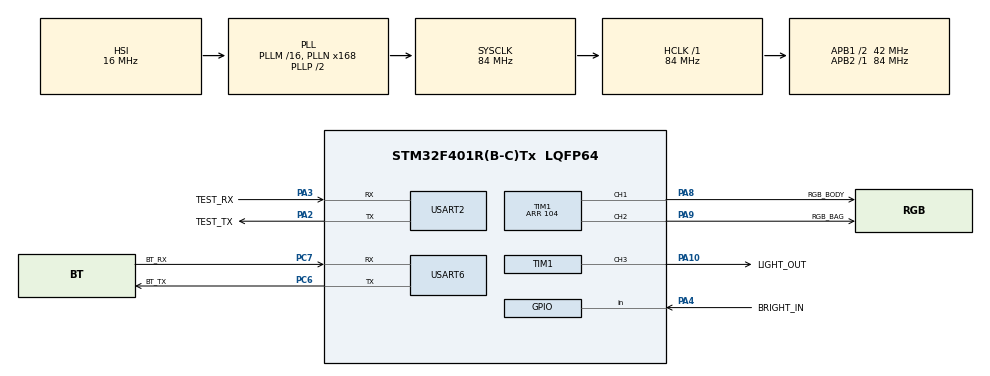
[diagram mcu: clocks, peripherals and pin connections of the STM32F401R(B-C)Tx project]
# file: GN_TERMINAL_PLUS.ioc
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Dma.Request0=TIM1_CH1
Dma.Request1=TIM1_CH2
Dma.Request2=TIM1_CH3
Dma.TIM1_CH1.0.Direction=DMA_MEMORY_TO_PERIPH
Dma.TIM1_CH1.0.FIFOMode=DMA_FIFOMODE_DISABLE
Dma.TIM1_CH1.0.Instance=DMA2_Stream1
Dma.TIM1_CH1.0.MemDataAlignment=DMA_MDATAALIGN_HALFWORD
Dma.TIM1_CH1.0.MemInc=DMA_MINC_ENABLE
Dma.TIM1_CH1.0.Mode=DMA_CIRCULAR
Dma.TIM1_CH1.0.PeriphDataAlignment=DMA_PDATAALIGN_HALFWORD
Dma.TIM1_CH1.0.PeriphInc=DMA_PINC_DISABLE
Dma.TIM1_CH1.0.Priority=DMA_PRIORITY_LOW
Dma.TIM1_CH2.1.Direction=DMA_MEMORY_TO_PERIPH
Dma.TIM1_CH2.1.FIFOMode=DMA_FIFOMODE_DISABLE
Dma.TIM1_CH2.1.Instance=DMA2_Stream2
Dma.TIM1_CH2.1.MemDataAlignment=DMA_MDATAALIGN_HALFWORD
Dma.TIM1_CH2.1.MemInc=DMA_MINC_ENABLE
Dma.TIM1_CH2.1.Mode=DMA_CIRCULAR
Dma.TIM1_CH2.1.PeriphDataAlignment=DMA_PDATAALIGN_HALFWORD
Dma.TIM1_CH2.1.PeriphInc=DMA_PINC_DISABLE
Dma.TIM1_CH2.1.Priority=DMA_PRIORITY_LOW
Dma.TIM1_CH3.2.Direction=DMA_MEMORY_TO_PERIPH
Dma.TIM1_CH3.2.FIFOMode=DMA_FIFOMODE_DISABLE
Dma.TIM1_CH3.2.Instance=DMA2_Stream6
Dma.TIM1_CH3.2.MemDataAlignment=DMA_MDATAALIGN_HALFWORD
Dma.TIM1_CH3.2.MemInc=DMA_MINC_ENABLE
Dma.TIM1_CH3.2.Mode=DMA_CIRCULAR
Dma.TIM1_CH3.2.PeriphDataAlignment=DMA_PDATAALIGN_HALFWORD
Dma.TIM1_CH3.2.PeriphInc=DMA_PINC_DISABLE
Dma.TIM1_CH3.2.Priority=DMA_PRIORITY_LOW
Mcu.Family=STM32F4
Mcu.Name=STM32F401R(B-C)Tx
Mcu.Package=LQFP64
NVIC.DMA2_Stream1_IRQn=true\:0\:0\:false\:false\:true\:true\:false\:true\:true
NVIC.DMA2_Stream2_IRQn=true\:0\:0\:false\:false\:true\:true\:false\:true\:true
NVIC.DMA2_Stream6_IRQn=true\:0\:0\:false\:false\:true\:true\:false\:true\:true
NVIC.PriorityGroup=NVIC_PRIORITYGROUP_4
NVIC.TIM3_IRQn=true\:15\:0\:false\:false\:true\:false\:false\:true\:true
NVIC.TimeBase=TIM3_IRQn
NVIC.TimeBaseIP=TIM3
NVIC.USART6_IRQn=true\:0\:0\:false\:false\:true\:false\:true\:true\:true
PA10.GPIO_Label=LIGHT_OUT
PA10.GPIO_ModeDefaultPP=GPIO_MODE_AF_PP
PA10.Signal=S_TIM1_CH3
PA13.Mode=Serial_Wire
PA13.Signal=SYS_JTMS-SWDIO
PA14.Mode=Serial_Wire
PA14.Signal=SYS_JTCK-SWCLK
PA2.GPIO_Label=TEST_TX
PA2.Mode=Asynchronous
PA2.Signal=USART2_TX
PA3.GPIO_Label=TEST_RX
PA3.Mode=Asynchronous
PA3.Signal=USART2_RX
PA4.GPIO_Label=BRIGHT_IN
PA4.Signal=GPIO_Input
PA8.GPIO_Label=RGB_BODY
PA8.GPIO_ModeDefaultPP=GPIO_MODE_AF_PP
PA8.Signal=S_TIM1_CH1
PA9.GPIO_Label=RGB_BAG
PA9.GPIO_ModeDefaultPP=GPIO_MODE_AF_PP
PA9.Signal=S_TIM1_CH2
PC6.GPIO_Label=BT_TX
PC6.Mode=Asynchronous
PC6.Signal=USART6_TX
PC7.GPIO_Label=BT_RX
PC7.Mode=Asynchronous
PC7.Signal=USART6_RX
PH0\ -\ OSC_IN.Mode=HSE-External-Oscillator
PH0\ -\ OSC_IN.Signal=RCC_OSC_IN
PH1\ -\ OSC_OUT.Mode=HSE-External-Oscillator
PH1\ -\ OSC_OUT.Signal=RCC_OSC_OUT
ProjectManager.HeapSize=0x200
ProjectManager.StackSize=0x400
ProjectManager.TargetToolchain=MDK-ARM V5.32
RCC.48MHZClocksFreq_Value=42000000
RCC.AHBFreq_Value=84000000
RCC.APB1CLKDivider=RCC_HCLK_DIV2
RCC.APB1Freq_Value=42000000
RCC.APB1TimFreq_Value=84000000
RCC.APB2Freq_Value=84000000
RCC.APB2TimFreq_Value=84000000
RCC.CortexFreq_Value=84000000
RCC.HCLKFreq_Value=84000000
RCC.HSE_VALUE=8000000
RCC.HSI_VALUE=16000000
RCC.LSE_VALUE=32768
RCC.PLLN=168
RCC.SYSCLKFreq_VALUE=84000000
RCC.SYSCLKSource=RCC_SYSCLKSOURCE_PLLCLK
RCC.VCOOutputFreq_Value=168000000
RealThread.RT-Thread.3.1.5.RTOSJjkernel=true
RealThread.RT-Thread.3.1.5.RTOSJjshell=true
SH.S_TIM1_CH1.0=TIM1_CH1,PWM Generation1 CH1
SH.S_TIM1_CH2.0=TIM1_CH2,PWM Generation2 CH2
SH.S_TIM1_CH3.0=TIM1_CH3,PWM Generation3 CH3
TIM1.Channel-PWM\ Generation1\ CH1=TIM_CHANNEL_1
TIM1.Channel-PWM\ Generation2\ CH2=TIM_CHANNEL_2
TIM1.Channel-PWM\ Generation3\ CH3=TIM_CHANNEL_3
TIM1.Period=104
USART2.VirtualMode=VM_ASYNC
USART6.VirtualMode=VM_ASYNC
VP_RealThread.RT-Thread_VS_RTOSJjkernel_3.1.5_3.1.5.Mode=RTOSJjkernel
VP_RealThread.RT-Thread_VS_RTOSJjshell_3.1.5_3.1.5.Mode=RTOSJjshell
VP_SYS_VS_tim3.Mode=TIM3
board=custom

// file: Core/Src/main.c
/* USER CODE BEGIN Header */
/**
 ******************************************************************************
 * @file           : main.c
 * @brief          : Main program body
 ******************************************************************************
 * @attention
 *
 * Copyright (c) 2024 STMicroelectronics.
 * All rights reserved.
 *
 * This software is licensed under terms that can be found in the LICENSE file
 * in the root directory of this software component.
 * If no LICENSE file comes with this software, it is provided AS-IS.
 *
 ******************************************************************************
 */
/* USER CODE END Header */
#include "main.h"
#include "dma.h"
#include "tim.h"
#include "usart.h"
#include "gpio.h"

/* USER CODE BEGIN Includes */
#include <rtthread.h>

#include "easyflash.h"
#include "string.h"
#include "stdlib.h"
#include "stdio.h"
#include "gn_controller.h"
#include "jsonUtil.h"
/* USER CODE END Includes */

/* USER CODE BEGIN PD */
#define BUFFER_SIZE 250
/* USER CODE END PD */

/* USER CODE BEGIN PV */
RGB_LED rgb_test;
char usart3_c;
int usart3_rx_index;
char usart3_rx_buffer[BUFFER_SIZE];
int mode_id = 6;
int gn_mode_id = 0;
int command_able = 0;
rt_thread_t processJsonThread;
/* USER CODE END PV */

void SystemClock_Config(void);

/* USER CODE BEGIN 0 */
uint32_t color;
/* USER CODE END 0 */

int main(void)
{

  /* MCU Configuration--------------------------------------------------------*/

  /* Reset of all peripherals, Initializes the Flash interface and the Systick. */
  HAL_Init();

  /* USER CODE BEGIN Init */
  RGB_LED_Init(&rgb_test, 30, &htim1, TIM_CHANNEL_1);
  /* USER CODE END Init */

  /* Configure the system clock */
  SystemClock_Config();

  /* USER CODE BEGIN SysInit */
  uint32_t Reboot_Time = 0;
  /* USER CODE END SysInit */

  /* Initialize all configured peripherals */
  MX_GPIO_Init();
  MX_DMA_Init();
  MX_TIM1_Init();
  MX_USART2_UART_Init();
  MX_USART6_UART_Init();
  /* USER CODE BEGIN 2 */
  if (easyflash_init() == EF_NO_ERR) // Initialization Data Succeed
  {
    uint32_t color1 = 0xF0F0F0;
    uint32_t color2 = 0x0000FF;
    rt_kprintf("要保存的数据:\n");
    print_hex_data(color1);
    rt_kprintf("\n");
    EfErrCode result = ef_set_env_blob("wavy_color_1", &color1,4);
    if (result == EF_NO_ERR)
    {
      rt_kprintf("数据1保存成功!\n");

      result = ef_set_env_blob("wavy_color_2", &color2,4);
      if (result == EF_NO_ERR)
      {
        rt_kprintf("数据2保存成功!\n");
      }
    }
    else
    {
      rt_kprintf("数据保存失败!错误码:%d\n", result);
    }
  }

  HAL_UART_Receive_IT(&huart6, (uint8_t *)&usart3_c, 1);

  rt_thread_t rgb_task_tid = rt_thread_create("rgb_demo", /* ???? */
                                              rgb_task, RT_NULL,
                                              1024, 3, 10); //
  if (rgb_task_tid != RT_NULL)
  {
    rt_thread_startup(rgb_task_tid);
    rt_kprintf("rgb thread is already started\n");
  }
  else
  {
    rt_kprintf("usart thread is not started\n");
  }
  // processJsonThread = rt_thread_create("commandParsing", commandParsingTask, RT_NULL, 7216, 4, 10);
  // if (processJsonThread != RT_NULL)
  // {
  //   // ????
  //   rt_thread_startup(processJsonThread);
  // }
  /* USER CODE END 2 */

  /* Infinite loop */
  while (1)
  {

  }
}

void SystemClock_Config(void)
{
  RCC_OscInitTypeDef RCC_OscInitStruct = {0};
  RCC_ClkInitTypeDef RCC_ClkInitStruct = {0};

  /** Configure the main internal regulator output voltage
   */
  __HAL_RCC_PWR_CLK_ENABLE();
  __HAL_PWR_VOLTAGESCALING_CONFIG(PWR_REGULATOR_VOLTAGE_SCALE2);

  /** Initializes the RCC Oscillators according to the specified parameters
   * in the RCC_OscInitTypeDef structure.
   */
  RCC_OscInitStruct.OscillatorType = RCC_OSCILLATORTYPE_HSI;
  RCC_OscInitStruct.HSIState = RCC_HSI_ON;
  RCC_OscInitStruct.HSICalibrationValue = RCC_HSICALIBRATION_DEFAULT;
  RCC_OscInitStruct.PLL.PLLState = RCC_PLL_ON;
  RCC_OscInitStruct.PLL.PLLSource = RCC_PLLSOURCE_HSI;
  RCC_OscInitStruct.PLL.PLLM = 16;
  RCC_OscInitStruct.PLL.PLLN = 168;
  RCC_OscInitStruct.PLL.PLLP = RCC_PLLP_DIV2;
  RCC_OscInitStruct.PLL.PLLQ = 4;
  if (HAL_RCC_OscConfig(&RCC_OscInitStruct) != HAL_OK)
  {
    Error_Handler();
  }

  /** Initializes the CPU, AHB and APB buses clocks
   */
  RCC_ClkInitStruct.ClockType = RCC_CLOCKTYPE_HCLK | RCC_CLOCKTYPE_SYSCLK | RCC_CLOCKTYPE_PCLK1 | RCC_CLOCKTYPE_PCLK2;
  RCC_ClkInitStruct.SYSCLKSource = RCC_SYSCLKSOURCE_PLLCLK;
  RCC_ClkInitStruct.AHBCLKDivider = RCC_SYSCLK_DIV1;
  RCC_ClkInitStruct.APB1CLKDivider = RCC_HCLK_DIV2;
  RCC_ClkInitStruct.APB2CLKDivider = RCC_HCLK_DIV1;

  if (HAL_RCC_ClockConfig(&RCC_ClkInitStruct, FLASH_LATENCY_2) != HAL_OK)
  {
    Error_Handler();
  }
}

/* USER CODE BEGIN 4 */
void print_hex_data(uint32_t value) {
    char buffer[10];
    snprintf(buffer, sizeof(buffer), "%06X", value);
    rt_kprintf("0x%s\n", buffer);
}

void rgb_task(void *promt)
{
  int times = 0;
  while (1)
  {
    switch (mode_id)
    {
    case 1:
    {
      chest_breathing(&rgb_test);
      break;
    }
    case 2:
    {
      normal(&rgb_test);
      break;
    }
    case 3:
    {
      all_body_breathing(&rgb_test);
      break;
    }
    case 4:
    {
      wavy_one(&rgb_test);
      break;
    }
    case 5:
    {
      wavy_two(&rgb_test);
      break;
    }
    case 6:
    {
      rainbow_RGB(&rgb_test);
      break;
    }
    }
    rt_kprintf("rgb 线程运行:%d次\n", ++times);
    rt_thread_mdelay(100);

    /* USER CODE BEGIN 3 */
  }
}
// ?????????????
uint32_t color_set;
char color_get[16]; // ??????????????

void setColorToEnv(const char *colors, const char *envName)
{
  int parsedItems = sscanf(colors, "[#%6s]", color_get);
  if (parsedItems == 1)
  {
    color_set = strtol(color_get, NULL, 16);
    rt_kprintf("提取颜色0x%06X完成%s\n", color_set, envName);
    ef_set_env_blob(envName, &color_set, 4);
  }
}

// ?????????
void setDualColorToEnv(const char *colors, const char *envName1, const char *envName2)
{
  char color_get_2[7];
  int parsedItems = sscanf(colors, "[#%6s,#%6s]", color_get, color_get_2);
  if (parsedItems == 2)
  {
    color_set = strtol(color_get, NULL, 16);
    ef_set_env_blob(envName1, &color_set, 4);
    color_set = strtol(color_get_2, NULL, 16);
    ef_set_env_blob(envName2, &color_set, 4);
  }
}
// ???
void processColor(const Message *message)
{
  switch (message->mode.id)
  {
  case 1:
    setColorToEnv(message->mode.colors, "chest_color");
    break;
  case 2:
    setColorToEnv(message->mode.colors, "normal_color");
    break;
  case 3:
    setColorToEnv(message->mode.colors, "body_color");
    break;
  case 4:
    setColorToEnv(message->mode.colors, "wavy_color_1");
    break;
  case 5:
    setDualColorToEnv(message->mode.colors, "wavy_color_1", "wavy_color_2");
    break;
  default:
    // Handle other cases or do nothing
    break;
  }
}
void commandParsingTask(void *prmt)
{
  while (1)
  {
    if (command_able == 1)
    {
      rt_kprintf("??????%s\n", usart3_rx_buffer);
      int parsedItems;
      int oId;
      char color_get[16];
      char color_get_2[16];
      uint32_t color_set = 0X000000;
      Message message;
      if (parseMessage(usart3_rx_buffer, &message))
      {
        rt_kprintf("Mode Type: %d\n", message.modeType);
        rt_kprintf("Mode ID: %d, Colors: %s\n", message.mode.id, message.mode.colors);
        rt_kprintf("gnMode ID: %d, Colors: %s\n", message.gnMode.id, message.gnMode.colors);
        mode_id = message.mode.id;
        processColor(&message);
      }
      else
      {
        rt_kprintf("Failed to parse the JSON string.\n");
      }

      // Free allocated memory
      free(message.mode.colors);
      free(message.gnMode.colors);
      command_able = 0;
    }
    else
      rt_thread_mdelay(10);
  }
}
void clearUsart()
{
  memset(usart3_rx_buffer, 0, sizeof(usart3_rx_buffer));
  usart3_rx_index = 0;
}
/* USER CODE END 4 */

void HAL_TIM_PeriodElapsedCallback(TIM_HandleTypeDef *htim)
{
  if (htim->Instance == TIM3)
  {
    HAL_IncTick();
  }
}

void Error_Handler(void)
{
  __disable_irq();
  while (1)
  {
  }
}
